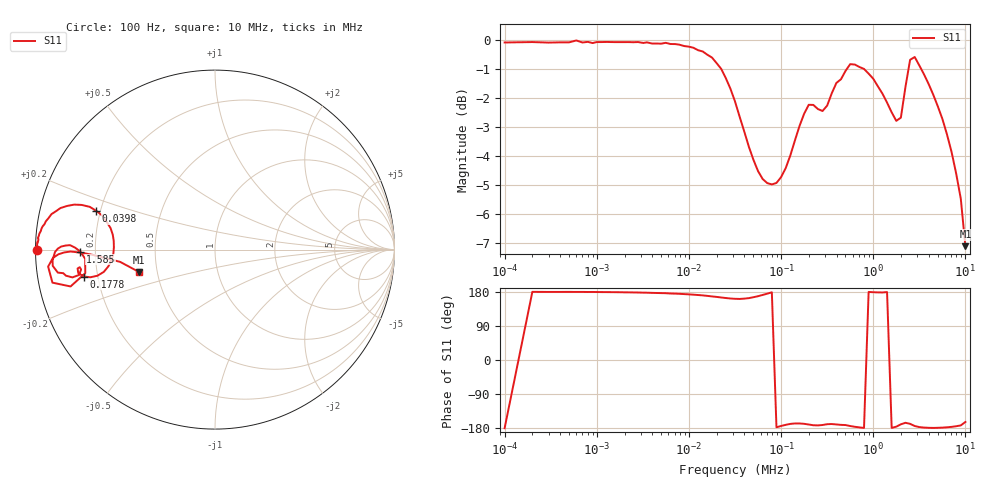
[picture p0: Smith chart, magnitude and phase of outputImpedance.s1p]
# MHz MA S R 0.01
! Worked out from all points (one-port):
!   90 points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, 100 Hz to 10 MHz, reference 0.01 ohm
!   lowest |S11| = -7.1 dB at 10 MHz (marker M1), VSWR 2.58, Z = 0.00395 - j0.00123 ohm
!   |S11| at or under -10 dB: nowhere
!   S11 on the Smith chart (normalised r, x): 100 Hz: 0.01, -0.00; 39.8 kHz: 0.18, +0.15; 177.8 kHz: 0.15, -0.10; 1.585 MHz: 0.14, -0.01; 10 MHz: 0.39, -0.12
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0.0001  0.99 -180.0
0.0005  0.9906 179.7
0.0018  0.9915 178.8
0.0079  0.9814 174.6
0.0178  0.9325 167.8
0.0282  0.8241 162.3
0.0355  0.7373 161.1
0.0398  0.6957 161.9
0.0562  0.5941 168.4
0.0794  0.5634 178.6
0.1122  0.6011 -171.1
0.1413  0.671 -167.5
0.1778  0.7458 -168.4
0.2512  0.76 -172.6
0.3548  0.8092 -169.0
0.5012  0.8848 -171.7
0.631  0.907 -176.2
1  0.8575 178.9
1.5849  0.7502 -179.2
1.9953  0.7346 -169.7
2.2387  0.8305 -165.7
2.5119  0.9242 -168.5
2.8184  0.9345 -174.2
3.1623  0.9039 -177.1
4.4668  0.8055 -179.2
7.9433  0.5882 -174.8
8.9125  0.5325 -172.6
10  0.4409 -163.5
